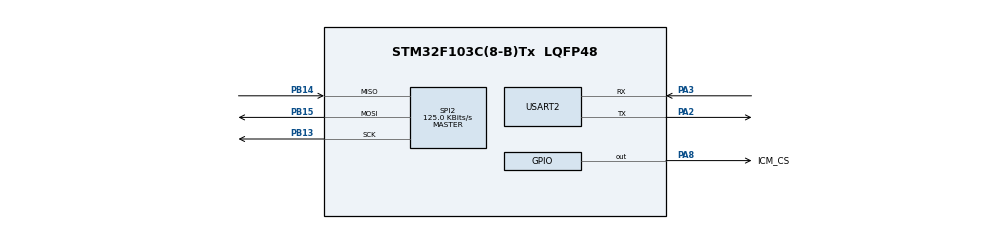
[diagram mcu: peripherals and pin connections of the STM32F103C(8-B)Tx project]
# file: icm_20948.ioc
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Dma.Request0=SPI2_RX
Dma.Request1=SPI2_TX
Dma.SPI2_RX.0.Direction=DMA_PERIPH_TO_MEMORY
Dma.SPI2_RX.0.Instance=DMA1_Channel4
Dma.SPI2_RX.0.MemDataAlignment=DMA_MDATAALIGN_BYTE
Dma.SPI2_RX.0.MemInc=DMA_MINC_ENABLE
Dma.SPI2_RX.0.Mode=DMA_NORMAL
Dma.SPI2_RX.0.PeriphDataAlignment=DMA_PDATAALIGN_BYTE
Dma.SPI2_RX.0.PeriphInc=DMA_PINC_DISABLE
Dma.SPI2_RX.0.Priority=DMA_PRIORITY_LOW
Dma.SPI2_TX.1.Direction=DMA_MEMORY_TO_PERIPH
Dma.SPI2_TX.1.Instance=DMA1_Channel5
Dma.SPI2_TX.1.MemDataAlignment=DMA_MDATAALIGN_BYTE
Dma.SPI2_TX.1.MemInc=DMA_MINC_ENABLE
Dma.SPI2_TX.1.Mode=DMA_NORMAL
Dma.SPI2_TX.1.PeriphDataAlignment=DMA_PDATAALIGN_BYTE
Dma.SPI2_TX.1.PeriphInc=DMA_PINC_DISABLE
Dma.SPI2_TX.1.Priority=DMA_PRIORITY_LOW
Mcu.Family=STM32F1
Mcu.Name=STM32F103C(8-B)Tx
Mcu.Package=LQFP48
NVIC.DMA1_Channel4_IRQn=true\:0\:0\:false\:false\:true\:false\:true\:true
NVIC.DMA1_Channel5_IRQn=true\:0\:0\:false\:false\:true\:false\:true\:true
NVIC.PriorityGroup=NVIC_PRIORITYGROUP_4
NVIC.SPI2_IRQn=true\:0\:0\:false\:false\:true\:true\:true\:true
PA13.Mode=Serial_Wire
PA13.Signal=SYS_JTMS-SWDIO
PA14.Mode=Serial_Wire
PA14.Signal=SYS_JTCK-SWCLK
PA2.Mode=Asynchronous
PA2.Signal=USART2_TX
PA3.Mode=Asynchronous
PA3.Signal=USART2_RX
PA8.GPIO_Label=ICM_CS
PA8.GPIO_PuPd=GPIO_PULLUP
PA8.PinState=GPIO_PIN_RESET
PA8.Signal=GPIO_Output
PB13.Mode=Full_Duplex_Master
PB13.Signal=SPI2_SCK
PB14.Mode=Full_Duplex_Master
PB14.Signal=SPI2_MISO
PB15.Mode=Full_Duplex_Master
PB15.Signal=SPI2_MOSI
ProjectManager.HeapSize=0x200
ProjectManager.StackSize=0x400
ProjectManager.TargetToolchain=STM32CubeIDE
RCC.APB1Freq_Value=8000000
RCC.APB2Freq_Value=8000000
SPI2.BaudRatePrescaler=SPI_BAUDRATEPRESCALER_64
SPI2.CLKPhase=SPI_PHASE_2EDGE
SPI2.CLKPolarity=SPI_POLARITY_HIGH
SPI2.CalculateBaudRate=125.0 KBits/s
SPI2.Direction=SPI_DIRECTION_2LINES
SPI2.Mode=SPI_MODE_MASTER
SPI2.VirtualType=VM_MASTER
USART2.VirtualMode=VM_ASYNC
board=custom

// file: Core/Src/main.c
/* USER CODE BEGIN Header */
/**
  ******************************************************************************
  * @file           : main.c
  * @brief          : Main program body
  ******************************************************************************
  */
/* USER CODE END Header */
#include "main.h"
#include "icm20948.h"
#include "mag_ak09916.h"
#include "Madgwick_filter.h"
#include "yaw_fusion.h"
#include <stdio.h>

SPI_HandleTypeDef hspi2;
DMA_HandleTypeDef hdma_spi2_rx;
DMA_HandleTypeDef hdma_spi2_tx;

UART_HandleTypeDef huart2;

void SystemClock_Config(void);
static void MX_GPIO_Init(void);
static void MX_DMA_Init(void);
static void MX_SPI2_Init(void);
static void MX_USART2_UART_Init(void);

int main(void)
{
  HAL_Init();
  SystemClock_Config();

  MX_GPIO_Init();
  MX_DMA_Init();
  MX_SPI2_Init();
  MX_USART2_UART_Init();

  /* USER CODE BEGIN 2 */
  printf("\r\n===== USART2 OK, baud=115200 =====\r\n");
  HAL_Delay(200);

  /* === 1. INIT ICM + AK === */
  printf("Khoi tao ICM-20948...\r\n");
  icm20948_init();
  printf("ICM-20948 OK!\r\n");

  printf("Khoi tao AK09916...\r\n");
  ak09916_init();
  printf("AK09916 OK!\r\n");

  /* === 2. HIỆU CHUẨN MAG === */
  HAL_Delay(1000);
  printf("\r\n===== HIEU CHUAN MAG =====\r\n");
  printf("Xoay board 360 do (moi huong) trong 20 giay...\r\n");
  ICM_CalibrateMag();
  printf("Hieu chuan xong!\r\n");

  /* Reset filter sau calib để bắt đầu sạch */
  q0 = 1.0f; q1 = 0.0f; q2 = 0.0f; q3 = 0.0f;

  printf("Bat dau doc du lieu...\r\n\r\n");

  uint32_t last_tick = HAL_GetTick();
  /* USER CODE END 2 */

  while (1)
  {
    /* USER CODE BEGIN 3 */
    uint32_t now = HAL_GetTick();
    uint32_t elapsed = now - last_tick;

    if (elapsed >= 20) {
      float dt = elapsed / 1000.0f;
      if (dt > 0.05f) dt = 0.05f;
      last_tick = now;

      axises a, g, m;

      /* --- ACCEL --- */
      icm20948_accel_read_g(&a);
      ax = a.x;
      ay = -a.y;
      az = -a.z;

      /* --- GYRO: trừ bias cố định + cùng frame với accel --- */
      icm20948_gyro_read_dps(&g);
      gx =  (g.x - gx_bias);
      gy = -(g.y - gy_bias);
      gz = -(g.z - gz_bias);

      /* --- MAG: remap AK09916 → ICM body frame, rồi hiệu chuẩn --- */
      bool mag_ok = ak09916_mag_read_uT(&m);
      if (mag_ok)
      {
          float ux =  -(float)m.y;
          float uy =  -(float)m.x;
          float uz =  -(float)m.z;
          Mag_SetCalibrated(ux, uy, uz);
      }

      UpdateYaw(dt);

      /* ===== IN DEBUG QUA USART2 ===== */
      if (mag_ok) {
          printf("A:%7.3f,%7.3f,%7.3f | G:%7.2f,%7.2f,%7.2f | M:%7.2f,%7.2f,%7.2f (OK) | R:%6.2f P:%6.2f Y:%6.2f\r\n",
                 ax, ay, az,
                 gx, gy, gz,
                 mx, my, mz,
                 roll, pitch, yaw);
      } else {
          printf("A:%7.3f,%7.3f,%7.3f | G:%7.2f,%7.2f,%7.2f | M: --- LOI GIAO TIEP --- | R:%6.2f P:%6.2f Y:%6.2f\r\n",
                 ax, ay, az,
                 gx, gy, gz,
                 roll, pitch, yaw);
      }
    }
    /* USER CODE END 3 */
  }
}

void SystemClock_Config(void)
{
  RCC_OscInitTypeDef RCC_OscInitStruct = {0};
  RCC_ClkInitTypeDef RCC_ClkInitStruct = {0};

  RCC_OscInitStruct.OscillatorType = RCC_OSCILLATORTYPE_HSI;
  RCC_OscInitStruct.HSIState = RCC_HSI_ON;
  RCC_OscInitStruct.HSICalibrationValue = RCC_HSICALIBRATION_DEFAULT;
  RCC_OscInitStruct.PLL.PLLState = RCC_PLL_NONE;
  if (HAL_RCC_OscConfig(&RCC_OscInitStruct) != HAL_OK)
  {
    Error_Handler();
  }

  RCC_ClkInitStruct.ClockType = RCC_CLOCKTYPE_HCLK|RCC_CLOCKTYPE_SYSCLK
                              |RCC_CLOCKTYPE_PCLK1|RCC_CLOCKTYPE_PCLK2;
  RCC_ClkInitStruct.SYSCLKSource = RCC_SYSCLKSOURCE_HSI;
  RCC_ClkInitStruct.AHBCLKDivider = RCC_SYSCLK_DIV1;
  RCC_ClkInitStruct.APB1CLKDivider = RCC_HCLK_DIV1;
  RCC_ClkInitStruct.APB2CLKDivider = RCC_HCLK_DIV1;

  if (HAL_RCC_ClockConfig(&RCC_ClkInitStruct, FLASH_LATENCY_0) != HAL_OK)
  {
    Error_Handler();
  }
}

static void MX_SPI2_Init(void)
{

  hspi2.Instance = SPI2;
  hspi2.Init.Mode = SPI_MODE_MASTER;
  hspi2.Init.Direction = SPI_DIRECTION_2LINES;
  hspi2.Init.DataSize = SPI_DATASIZE_8BIT;
  hspi2.Init.CLKPolarity = SPI_POLARITY_HIGH;
  hspi2.Init.CLKPhase = SPI_PHASE_2EDGE;
  hspi2.Init.NSS = SPI_NSS_SOFT;
  hspi2.Init.BaudRatePrescaler = SPI_BAUDRATEPRESCALER_64;
  hspi2.Init.FirstBit = SPI_FIRSTBIT_MSB;
  hspi2.Init.TIMode = SPI_TIMODE_DISABLE;
  hspi2.Init.CRCCalculation = SPI_CRCCALCULATION_DISABLE;
  hspi2.Init.CRCPolynomial = 10;
  if (HAL_SPI_Init(&hspi2) != HAL_OK)
  {
    Error_Handler();
  }
}

static void MX_USART2_UART_Init(void)
{

  huart2.Instance = USART2;
  huart2.Init.BaudRate = 115200;
  huart2.Init.WordLength = UART_WORDLENGTH_8B;
  huart2.Init.StopBits = UART_STOPBITS_1;
  huart2.Init.Parity = UART_PARITY_NONE;
  huart2.Init.Mode = UART_MODE_TX_RX;
  huart2.Init.HwFlowCtl = UART_HWCONTROL_NONE;
  huart2.Init.OverSampling = UART_OVERSAMPLING_16;
  if (HAL_UART_Init(&huart2) != HAL_OK)
  {
    Error_Handler();
  }
}

static void MX_DMA_Init(void)
{
  __HAL_RCC_DMA1_CLK_ENABLE();

  HAL_NVIC_SetPriority(DMA1_Channel4_IRQn, 0, 0);
  HAL_NVIC_EnableIRQ(DMA1_Channel4_IRQn);

  HAL_NVIC_SetPriority(DMA1_Channel5_IRQn, 0, 0);
  HAL_NVIC_EnableIRQ(DMA1_Channel5_IRQn);
}

static void MX_GPIO_Init(void)
{
  GPIO_InitTypeDef GPIO_InitStruct = {0};

  __HAL_RCC_GPIOA_CLK_ENABLE();
  __HAL_RCC_GPIOB_CLK_ENABLE();

  HAL_GPIO_WritePin(ICM_CS_GPIO_Port, ICM_CS_Pin, GPIO_PIN_RESET);

  GPIO_InitStruct.Pin = ICM_CS_Pin;
  GPIO_InitStruct.Mode = GPIO_MODE_OUTPUT_PP;
  GPIO_InitStruct.Pull = GPIO_PULLUP;
  GPIO_InitStruct.Speed = GPIO_SPEED_FREQ_LOW;
  HAL_GPIO_Init(ICM_CS_GPIO_Port, &GPIO_InitStruct);

}

void Error_Handler(void)
{
  __disable_irq();
  while (1)
  {
  }
}
